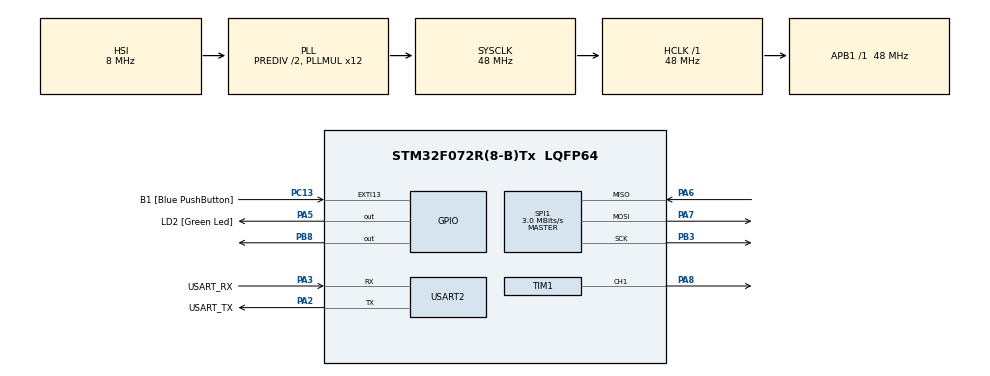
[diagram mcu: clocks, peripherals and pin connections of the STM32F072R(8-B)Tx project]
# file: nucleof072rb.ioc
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Mcu.Family=STM32F0
Mcu.Name=STM32F072R(8-B)Tx
Mcu.Package=LQFP64
PA13.GPIO_Label=TMS
PA13.Mode=Serial_Wire
PA13.Signal=SYS_SWDIO
PA14.GPIO_Label=TCK
PA14.Mode=Serial_Wire
PA14.Signal=SYS_SWCLK
PA2.GPIO_Label=USART_TX
PA2.GPIO_Mode=GPIO_MODE_AF_PP
PA2.GPIO_PuPd=GPIO_NOPULL
PA2.GPIO_Speed=GPIO_SPEED_FREQ_LOW
PA2.Mode=Asynchronous
PA2.Signal=USART2_TX
PA3.GPIO_Label=USART_RX
PA3.GPIO_Mode=GPIO_MODE_AF_PP
PA3.GPIO_PuPd=GPIO_NOPULL
PA3.GPIO_Speed=GPIO_SPEED_FREQ_LOW
PA3.Mode=Asynchronous
PA3.Signal=USART2_RX
PA5.GPIO_Label=LD2 [Green Led]
PA5.GPIO_Mode=GPIO_MODE_OUTPUT_PP
PA5.GPIO_PuPd=GPIO_NOPULL
PA5.GPIO_Speed=GPIO_SPEED_FREQ_LOW
PA5.Signal=GPIO_Output
PA6.Mode=Full_Duplex_Master
PA6.Signal=SPI1_MISO
PA7.Mode=Full_Duplex_Master
PA7.Signal=SPI1_MOSI
PA8.Signal=S_TIM1_CH1
PB3.Mode=Full_Duplex_Master
PB3.Signal=SPI1_SCK
PB8.Signal=GPIO_Output
PC13.GPIO_Label=B1 [Blue PushButton]
PC13.GPIO_ModeDefaultEXTI=GPIO_MODE_IT_FALLING
PC13.Signal=GPXTI13
PC14-OSC32_IN.Mode=LSE-External-Oscillator
PC14-OSC32_IN.Signal=RCC_OSC32_IN
PC15-OSC32_OUT.Mode=LSE-External-Oscillator
PC15-OSC32_OUT.Signal=RCC_OSC32_OUT
PF0-OSC_IN.Mode=HSE-External-Clock-Source
PF0-OSC_IN.Signal=RCC_OSC_IN
PF1-OSC_OUT.Signal=RCC_OSC_OUT
ProjectManager.HeapSize=0x200
ProjectManager.StackSize=0x400
ProjectManager.TargetToolchain=STM32CubeIDE
RCC.AHBFreq_Value=48000000
RCC.APB1Freq_Value=48000000
RCC.APB1TimFreq_Value=48000000
RCC.FLatency-AdvancedSettings=FLASH_LATENCY_1
RCC.HCLKFreq_Value=48000000
RCC.PLLDivider=RCC_PREDIV_DIV2
RCC.PLLMUL=RCC_PLL_MUL12
RCC.PREFETCH_ENABLE-AdvancedSettings=1
RCC.SYSCLKFreq_VALUE=48000000
RCC.SYSCLKSource=RCC_SYSCLKSOURCE_PLLCLK
SH.S_TIM1_CH1.0=TIM1_CH1,PWM Generation1 CH1
SPI1.BaudRatePrescaler=SPI_BAUDRATEPRESCALER_16
SPI1.CalculateBaudRate=3.0 MBits/s
SPI1.DataSize=SPI_DATASIZE_8BIT
SPI1.Direction=SPI_DIRECTION_2LINES
SPI1.Mode=SPI_MODE_MASTER
SPI1.VirtualType=VM_MASTER
TIM1.Channel-PWM\ Generation1\ CH1=TIM_CHANNEL_1
TIM1.Period=64000
TIM1.Prescaler=14
USART2.VirtualMode=VM_ASYNC
USART2.VirtualMode-Asynchronous=VM_ASYNC
VP_TIM1_VS_ClockSourceINT.Mode=Internal
board=NUCLEO-F072RB

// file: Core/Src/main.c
/* USER CODE BEGIN Header */
/* USER CODE END Header */
#include "main.h"
#include "spi.h"
#include "tim.h"
#include "usart.h"
#include "gpio.h"

/* USER CODE BEGIN PD */
#define MCP3008_START_BIT 0x01 // Start bit for MCP3008
#define MCP3008_CHANNEL 0x80   // Single-ended channel 0 (0b1000 0000)
/* USER CODE END PD */

/* USER CODE BEGIN PV */
uint8_t spiTxData[3]; // Buffer for SPI transmission
uint8_t spiRxData[3]; // Buffer for SPI reception
uint16_t adcValue;    // Variable to store ADC value
uint16_t pwmValue;    // Variable to store PWM value
/* USER CODE END PV */

void SystemClock_Config(void);

int main(void)
{

  /* MCU Configuration--------------------------------------------------------*/

  /* Reset of all peripherals, Initializes the Flash interface and the Systick. */
  HAL_Init();

  /* Configure the system clock */
  SystemClock_Config();

  /* Initialize all configured peripherals */
  MX_GPIO_Init();
  MX_USART2_UART_Init();
  MX_SPI1_Init();
  MX_TIM1_Init();
  /* USER CODE BEGIN 2 */
  HAL_TIM_PWM_Start(&htim1, TIM_CHANNEL_1); // Start PWM on Timer 1, Channel 1

  // Configure SPI Mode 0 (CPOL = 0, CPHA = 0)
  hspi1.Init.CLKPolarity = SPI_POLARITY_LOW;
  hspi1.Init.CLKPhase = SPI_PHASE_1EDGE;
  HAL_SPI_Init(&hspi1);

  HAL_GPIO_WritePin(GPIOB, GPIO_PIN_8, GPIO_PIN_SET); // Set CS pin (PB8) initially high

  /* USER CODE END 2 */

  /* Infinite loop */
  /* USER CODE BEGIN WHILE */
  while (1)
  {
    // Prepare SPI Transmission Buffer
    spiTxData[0] = MCP3008_START_BIT; // Start bit
    spiTxData[1] = MCP3008_CHANNEL;   // Single-ended mode, channel 0
    spiTxData[2] = 0x00;              // Empty byte for alignment

    HAL_GPIO_WritePin(GPIOB, GPIO_PIN_8, GPIO_PIN_RESET); //Pull CS line low to start communication

    HAL_SPI_TransmitReceive(&hspi1, spiTxData, spiRxData, 3, HAL_MAX_DELAY); //Begin SPI communication to read ADC value

    HAL_GPIO_WritePin(GPIOB, GPIO_PIN_8, GPIO_PIN_SET); // Pull CS line high to end communication

    adcValue = ((spiRxData[1] & 0x03) << 8) | spiRxData[2]; //Extract 10 bit ADC value

    pwmValue = 3200 + (adcValue * 3200) / 1023; // Scale ADC value (0–1023) to PWM range (3200-6400) for 5–10% duty cycle)

    __HAL_TIM_SET_COMPARE(&htim1, TIM_CHANNEL_1, pwmValue); //Set PWM Duty cycle

    HAL_Delay(10); // Short delay for stability
    /* USER CODE END WHILE */

  }
}

void SystemClock_Config(void)
{
  RCC_OscInitTypeDef RCC_OscInitStruct = {0};
  RCC_ClkInitTypeDef RCC_ClkInitStruct = {0};
  RCC_PeriphCLKInitTypeDef PeriphClkInit = {0};

  /** Initializes the RCC Oscillators according to the specified parameters
  * in the RCC_OscInitTypeDef structure.
  */
  RCC_OscInitStruct.OscillatorType = RCC_OSCILLATORTYPE_HSI;
  RCC_OscInitStruct.HSIState = RCC_HSI_ON;
  RCC_OscInitStruct.HSICalibrationValue = RCC_HSICALIBRATION_DEFAULT;
  RCC_OscInitStruct.PLL.PLLState = RCC_PLL_ON;
  RCC_OscInitStruct.PLL.PLLSource = RCC_PLLSOURCE_HSI;
  RCC_OscInitStruct.PLL.PLLMUL = RCC_PLL_MUL12;
  RCC_OscInitStruct.PLL.PREDIV = RCC_PREDIV_DIV2;
  if (HAL_RCC_OscConfig(&RCC_OscInitStruct) != HAL_OK)
  {
    Error_Handler();
  }
  /** Initializes the CPU, AHB and APB buses clocks
  */
  RCC_ClkInitStruct.ClockType = RCC_CLOCKTYPE_HCLK|RCC_CLOCKTYPE_SYSCLK
                              |RCC_CLOCKTYPE_PCLK1;
  RCC_ClkInitStruct.SYSCLKSource = RCC_SYSCLKSOURCE_PLLCLK;
  RCC_ClkInitStruct.AHBCLKDivider = RCC_SYSCLK_DIV1;
  RCC_ClkInitStruct.APB1CLKDivider = RCC_HCLK_DIV1;

  if (HAL_RCC_ClockConfig(&RCC_ClkInitStruct, FLASH_LATENCY_1) != HAL_OK)
  {
    Error_Handler();
  }
  PeriphClkInit.PeriphClockSelection = RCC_PERIPHCLK_USART2;
  PeriphClkInit.Usart2ClockSelection = RCC_USART2CLKSOURCE_PCLK1;
  if (HAL_RCCEx_PeriphCLKConfig(&PeriphClkInit) != HAL_OK)
  {
    Error_Handler();
  }
}

void Error_Handler(void)
{
}

/************************ (C) COPYRIGHT STMicroelectronics *****END OF FILE****/
